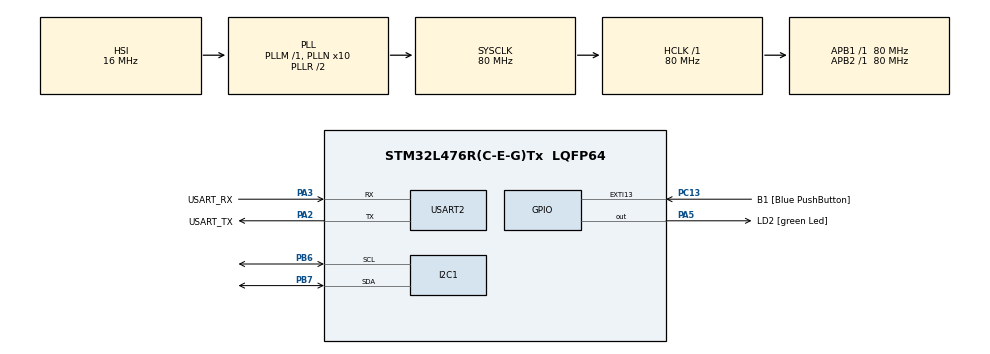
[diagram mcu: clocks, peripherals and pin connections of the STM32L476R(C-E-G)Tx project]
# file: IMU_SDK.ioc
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I2C1.Timing=0x10909CEC
Mcu.Family=STM32L4
Mcu.Name=STM32L476R(C-E-G)Tx
Mcu.Package=LQFP64
NVIC.PriorityGroup=NVIC_PRIORITYGROUP_4
PA13\ (JTMS-SWDIO).GPIO_Label=TMS
PA13\ (JTMS-SWDIO).Mode=Serial_Wire
PA13\ (JTMS-SWDIO).Signal=SYS_JTMS-SWDIO
PA14\ (JTCK-SWCLK).GPIO_Label=TCK
PA14\ (JTCK-SWCLK).Mode=Serial_Wire
PA14\ (JTCK-SWCLK).Signal=SYS_JTCK-SWCLK
PA2.GPIO_Label=USART_TX
PA2.GPIO_Mode=GPIO_MODE_AF_PP
PA2.GPIO_PuPd=GPIO_NOPULL
PA2.GPIO_Speed=GPIO_SPEED_FREQ_VERY_HIGH
PA2.Mode=Asynchronous
PA2.Signal=USART2_TX
PA3.GPIO_Label=USART_RX
PA3.GPIO_Mode=GPIO_MODE_AF_PP
PA3.GPIO_PuPd=GPIO_NOPULL
PA3.GPIO_Speed=GPIO_SPEED_FREQ_VERY_HIGH
PA3.Mode=Asynchronous
PA3.Signal=USART2_RX
PA5.GPIO_Label=LD2 [green Led]
PA5.GPIO_ModeDefaultOutputPP=GPIO_MODE_OUTPUT_PP
PA5.GPIO_PuPd=GPIO_NOPULL
PA5.GPIO_Speed=GPIO_SPEED_FREQ_LOW
PA5.Signal=GPIO_Output
PB3\ (JTDO-TRACESWO).GPIO_Label=SWO
PB3\ (JTDO-TRACESWO).Signal=SYS_JTDO-SWO
PB6.Mode=I2C
PB6.Signal=I2C1_SCL
PB7.Mode=I2C
PB7.Signal=I2C1_SDA
PC13.GPIO_Label=B1 [Blue PushButton]
PC13.GPIO_ModeDefaultEXTI=GPIO_MODE_IT_FALLING
PC13.GPIO_PuPd=GPIO_NOPULL
PC13.Signal=GPXTI13
PC14-OSC32_IN\ (PC14).Mode=LSE-External-Oscillator
PC14-OSC32_IN\ (PC14).Signal=RCC_OSC32_IN
PC15-OSC32_OUT\ (PC15).Mode=LSE-External-Oscillator
PC15-OSC32_OUT\ (PC15).Signal=RCC_OSC32_OUT
PH0-OSC_IN\ (PH0).Signal=RCC_OSC_IN
PH1-OSC_OUT\ (PH1).Signal=RCC_OSC_OUT
ProjectManager.HeapSize=0x200
ProjectManager.StackSize=0x400
ProjectManager.TargetToolchain=STM32CubeIDE
RCC.ADCFreq_Value=64000000
RCC.AHBFreq_Value=80000000
RCC.APB1Freq_Value=80000000
RCC.APB1TimFreq_Value=80000000
RCC.APB2Freq_Value=80000000
RCC.APB2TimFreq_Value=80000000
RCC.CortexFreq_Value=80000000
RCC.HCLKFreq_Value=80000000
RCC.HSE_VALUE=8000000
RCC.HSI_VALUE=16000000
RCC.MSI_VALUE=4000000
RCC.PLLN=10
RCC.PLLSourceVirtual=RCC_PLLSOURCE_HSI
RCC.PREFETCH_ENABLE=1
RCC.SYSCLKFreq_VALUE=80000000
RCC.SYSCLKSource=RCC_SYSCLKSOURCE_PLLCLK
RCC.USBFreq_Value=64000000
RCC.VCOOutputFreq_Value=160000000
USART2.VirtualMode-Asynchronous=VM_ASYNC
board=NUCLEO-L476RG

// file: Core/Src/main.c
/* USER CODE BEGIN Header */
/**
  ******************************************************************************
  * @file           : main.c
  * @brief          : Main program body
  ******************************************************************************
  * @attention
  *
  * Copyright (c) 2023 STMicroelectronics.
  * All rights reserved.
  *
  * This software is licensed under terms that can be found in the LICENSE file
  * in the root directory of this software component.
  * If no LICENSE file comes with this software, it is provided AS-IS.
  *
  ******************************************************************************
  */
/* USER CODE END Header */
#include "main.h"

/* USER CODE BEGIN Includes */
#include "REG.h"
#include "stm32l4xx_hal.h"  // Include HAL driver for STM32L4
#include <math.h>   // Include Math library for calculations
#include <string.h>   // Include for strlen
#include <stdio.h>    // Include for snprintf
#include "wit_c_sdk.h"
/* USER CODE END Includes */

/* USER CODE BEGIN PD */
// Define sensor addresses and commands
//#define IICADDR (0x50 << 1) // IMU address shifted for HAL library
//#define WIT_TIME 0x50
//#define WIT_ACC 0x51
//#define WIT_QUATER 0x59
#define ACC_SC (16.0 / 32768.0)
#define QUATER_SC (1.0 / 32768.0)
/* USER CODE END PD */

I2C_HandleTypeDef hi2c1;

UART_HandleTypeDef huart2;

/* USER CODE BEGIN PV */
float accel[3] = {0, 0, 0};
float vel_i[3] = {0, 0, 0};
float vel_f[3] = {0, 0, 0};
float pos[3] = {0, 0, 0};
float quat[4] = {0, 0, 0, 0};
float euler[3] = {0, 0, 0};
float time_i = 0;
float time_f;
float deltaTime;
float time_elapsed;
/* USER CODE END PV */

void SystemClock_Config(void);
static void MX_GPIO_Init(void);
static void MX_USART2_UART_Init(void);
static void MX_I2C1_Init(void);

/* USER CODE BEGIN 0 */

HAL_StatusTypeDef UART_SendString(UART_HandleTypeDef *huart, char *str) {
    uint16_t len = strlen(str);
    return HAL_UART_Transmit(huart, (uint8_t *)str, len, HAL_MAX_DELAY);
}

void readTime(I2C_HandleTypeDef *hi2c, uint8_t *buffer) {
    HAL_I2C_Mem_Read(&hi2c1, IICADDR, WIT_TIME, I2C_MEMADD_SIZE_8BIT, buffer, 8, HAL_MAX_DELAY);
    // Process time data as needed
}

void readAcceleration(void) {
    uint8_t data[3];
    data[0] = WitReadReg(AX, WIT_ACC);
    data[1] = WitReadReg(AY, WIT_ACC);
    data[2] = WitReadReg(AZ, WIT_ACC);
    uint8_t ahigh0 = data[0] >> 8 & 0xFF;
    uint8_t alow0  = data[0] << 8 & 0xFF;
    uint8_t ahigh1 = data[1] >> 8 & 0xFF;
    uint8_t alow1  = data[1] << 8 & 0xFF;
    uint8_t ahigh2 = data[2] >> 8 & 0xFF;
    uint8_t alow2  = data[2] << 8 & 0xFF;
    accel[0] = ((ahigh0 << 8) | alow0); //* ACC_SC;
    accel[1] = ((ahigh1 << 8) | alow1); //* ACC_SC;
    accel[2] = ((ahigh2 << 8) | alow2); //* ACC_SC;
}

void readQuaternion(void) {
    uint8_t data[4];
    data[0] = WitReadReg(q0, 1);
    data[1] = WitReadReg(q1, 1);
    data[2] = WitReadReg(q2, 1);
    data[3] = WitReadReg(q3, 1);
    uint8_t qhigh0 = data[0] >> 8 & 0xFF;
    uint8_t qlow0  = data[0] << 8 & 0xFF;
    uint8_t qhigh1 = data[1] >> 8 & 0xFF;
    uint8_t qlow1  = data[1] << 8 & 0xFF;
    uint8_t qhigh2 = data[2] >> 8 & 0xFF;
    uint8_t qlow2  = data[2] << 8 & 0xFF;
    uint8_t qhigh3 = data[3] >> 8 & 0xFF;
    uint8_t qlow3  = data[3] << 8 & 0xFF;
    quat[0] = ((qhigh0 << 8) | qlow0) * QUATER_SC;
    quat[1] = ((qhigh1 << 8) | qlow1) * QUATER_SC;
    quat[2] = ((qhigh2 << 8) | qlow2) * QUATER_SC;
    quat[3] = ((qhigh3 << 8) | qlow3) * QUATER_SC;
}

void quaternionToEuler(const float *quat, float *euler) {
    // Convert quaternion to Euler angles
    euler[0] = atan2(2.0f * (quat[0] * quat[1] + quat[2] * quat[3]), 1.0f - 2.0f * (quat[1] * quat[1] + quat[2] * quat[2]));
    euler[1] = asin(2.0f * (quat[0] * quat[2] - quat[3] * quat[1]));
    euler[2] = atan2(2.0f * (quat[0] * quat[3] + quat[1] * quat[2]), 1.0f - 2.0f * (quat[2] * quat[2] + quat[3] * quat[3]));
}

void computeRelativePosition(const float *accel, float deltaTime, float *pos) {
    // Simple integration of acceleration to compute position change
    for (int i = 0; i < 3; ++i) {
        vel_f[i] = vel_i[i] + accel[i] * deltaTime;
        pos[i] = (vel_i[i] * deltaTime) + ((1/2) * (accel[i] * deltaTime * deltaTime));
        vel_i[i] = vel_f[i];
    }
}
/* USER CODE END 0 */

int main(void)
{
  /* USER CODE BEGIN 1 */
	float accel[3], quat[4], euler[3], pos[3] = {0};
  /* USER CODE END 1 */

  /* MCU Configuration--------------------------------------------------------*/

  /* Reset of all peripherals, Initializes the Flash interface and the Systick. */
  HAL_Init();

  /* USER CODE BEGIN Init */

  // Initialize IMU for I2C
  	 WitInit(3, IICADDR);

  /* USER CODE END Init */

  /* Configure the system clock */
  SystemClock_Config();

  /* Initialize all configured peripherals */
  MX_GPIO_Init();
  MX_USART2_UART_Init();
  MX_I2C1_Init();
  /* USER CODE BEGIN 2 */
  const char *openingStatement = "UART Trial\r\n";
  HAL_UART_Transmit(&huart2, (uint8_t *)openingStatement, strlen(openingStatement), 1000);
  /* USER CODE END 2 */

  /* Infinite loop */
  /* USER CODE BEGIN WHILE */
  while (1)
  {
	  time_f = WitReadReg(MS, WIT_TIME);
	  time_elapsed += time_f;
	  deltaTime = time_f - time_i;
	  readAcceleration();
	  readQuaternion();
	  quaternionToEuler(quat, euler);
	  computeRelativePosition(accel, deltaTime, pos);
	  time_i = time_f;
//	  // Read time data
//	  readTime(&hi2c1, timeData);
//
//	  // Read acceleration data
//	  readAcceleration(&hi2c1, accel);
//
//	  // Read quaternion data
//	  readQuaternion(&hi2c1, quat);
//
//	  // Convert quaternion to Euler angles
//	  quaternionToEuler(quat, euler);
//
//	  // Compute relative position (deltaTime should be updated appropriately)
//	  float deltaTime = 1.0; // Example: 1 second
//	  computeRelativePosition(accel, deltaTime, pos);
//
	  // Use timeData, euler, and position as needed
	  char positionString[128]; // Adjust the size as needed
	  snprintf(positionString, sizeof(positionString), "Position: X: %f, Y: %f, Z: %f\r\n", pos[0], pos[1], pos[2]);

	  HAL_UART_Transmit(&huart2, (uint8_t*)positionString, strlen(positionString), 1000);

	  // ...

	  HAL_Delay(1000); // Example delay, adjust as needed
    /* USER CODE END WHILE */

  }
}

void SystemClock_Config(void)
{
  RCC_OscInitTypeDef RCC_OscInitStruct = {0};
  RCC_ClkInitTypeDef RCC_ClkInitStruct = {0};

  /** Configure the main internal regulator output voltage
  */
  if (HAL_PWREx_ControlVoltageScaling(PWR_REGULATOR_VOLTAGE_SCALE1) != HAL_OK)
  {
    Error_Handler();
  }

  /** Initializes the RCC Oscillators according to the specified parameters
  * in the RCC_OscInitTypeDef structure.
  */
  RCC_OscInitStruct.OscillatorType = RCC_OSCILLATORTYPE_HSI;
  RCC_OscInitStruct.HSIState = RCC_HSI_ON;
  RCC_OscInitStruct.HSICalibrationValue = RCC_HSICALIBRATION_DEFAULT;
  RCC_OscInitStruct.PLL.PLLState = RCC_PLL_ON;
  RCC_OscInitStruct.PLL.PLLSource = RCC_PLLSOURCE_HSI;
  RCC_OscInitStruct.PLL.PLLM = 1;
  RCC_OscInitStruct.PLL.PLLN = 10;
  RCC_OscInitStruct.PLL.PLLP = RCC_PLLP_DIV7;
  RCC_OscInitStruct.PLL.PLLQ = RCC_PLLQ_DIV2;
  RCC_OscInitStruct.PLL.PLLR = RCC_PLLR_DIV2;
  if (HAL_RCC_OscConfig(&RCC_OscInitStruct) != HAL_OK)
  {
    Error_Handler();
  }

  /** Initializes the CPU, AHB and APB buses clocks
  */
  RCC_ClkInitStruct.ClockType = RCC_CLOCKTYPE_HCLK|RCC_CLOCKTYPE_SYSCLK
                              |RCC_CLOCKTYPE_PCLK1|RCC_CLOCKTYPE_PCLK2;
  RCC_ClkInitStruct.SYSCLKSource = RCC_SYSCLKSOURCE_PLLCLK;
  RCC_ClkInitStruct.AHBCLKDivider = RCC_SYSCLK_DIV1;
  RCC_ClkInitStruct.APB1CLKDivider = RCC_HCLK_DIV1;
  RCC_ClkInitStruct.APB2CLKDivider = RCC_HCLK_DIV1;

  if (HAL_RCC_ClockConfig(&RCC_ClkInitStruct, FLASH_LATENCY_4) != HAL_OK)
  {
    Error_Handler();
  }
}

static void MX_I2C1_Init(void)
{

  hi2c1.Instance = I2C1;
  hi2c1.Init.Timing = 0x10909CEC;
  hi2c1.Init.OwnAddress1 = 0;
  hi2c1.Init.AddressingMode = I2C_ADDRESSINGMODE_7BIT;
  hi2c1.Init.DualAddressMode = I2C_DUALADDRESS_DISABLE;
  hi2c1.Init.OwnAddress2 = 0;
  hi2c1.Init.OwnAddress2Masks = I2C_OA2_NOMASK;
  hi2c1.Init.GeneralCallMode = I2C_GENERALCALL_DISABLE;
  hi2c1.Init.NoStretchMode = I2C_NOSTRETCH_DISABLE;
  if (HAL_I2C_Init(&hi2c1) != HAL_OK)
  {
    Error_Handler();
  }

  /** Configure Analogue filter
  */
  if (HAL_I2CEx_ConfigAnalogFilter(&hi2c1, I2C_ANALOGFILTER_ENABLE) != HAL_OK)
  {
    Error_Handler();
  }

  /** Configure Digital filter
  */
  if (HAL_I2CEx_ConfigDigitalFilter(&hi2c1, 0) != HAL_OK)
  {
    Error_Handler();
  }

}

static void MX_USART2_UART_Init(void)
{

  huart2.Instance = USART2;
  huart2.Init.BaudRate = 115200;
  huart2.Init.WordLength = UART_WORDLENGTH_8B;
  huart2.Init.StopBits = UART_STOPBITS_1;
  huart2.Init.Parity = UART_PARITY_NONE;
  huart2.Init.Mode = UART_MODE_TX_RX;
  huart2.Init.HwFlowCtl = UART_HWCONTROL_NONE;
  huart2.Init.OverSampling = UART_OVERSAMPLING_16;
  huart2.Init.OneBitSampling = UART_ONE_BIT_SAMPLE_DISABLE;
  huart2.AdvancedInit.AdvFeatureInit = UART_ADVFEATURE_NO_INIT;
  if (HAL_UART_Init(&huart2) != HAL_OK)
  {
    Error_Handler();
  }

}

static void MX_GPIO_Init(void)
{
  GPIO_InitTypeDef GPIO_InitStruct = {0};

  /* GPIO Ports Clock Enable */
  __HAL_RCC_GPIOC_CLK_ENABLE();
  __HAL_RCC_GPIOH_CLK_ENABLE();
  __HAL_RCC_GPIOA_CLK_ENABLE();
  __HAL_RCC_GPIOB_CLK_ENABLE();

  /*Configure GPIO pin Output Level */
  HAL_GPIO_WritePin(LD2_GPIO_Port, LD2_Pin, GPIO_PIN_RESET);

  /*Configure GPIO pin : B1_Pin */
  GPIO_InitStruct.Pin = B1_Pin;
  GPIO_InitStruct.Mode = GPIO_MODE_IT_FALLING;
  GPIO_InitStruct.Pull = GPIO_NOPULL;
  HAL_GPIO_Init(B1_GPIO_Port, &GPIO_InitStruct);

  /*Configure GPIO pin : LD2_Pin */
  GPIO_InitStruct.Pin = LD2_Pin;
  GPIO_InitStruct.Mode = GPIO_MODE_OUTPUT_PP;
  GPIO_InitStruct.Pull = GPIO_NOPULL;
  GPIO_InitStruct.Speed = GPIO_SPEED_FREQ_LOW;
  HAL_GPIO_Init(LD2_GPIO_Port, &GPIO_InitStruct);

}

void Error_Handler(void)
{
  __disable_irq();
  while (1)
  {
  }
}
